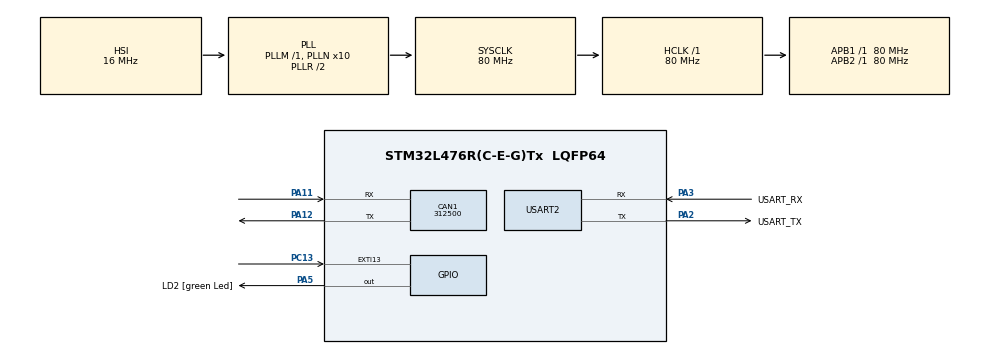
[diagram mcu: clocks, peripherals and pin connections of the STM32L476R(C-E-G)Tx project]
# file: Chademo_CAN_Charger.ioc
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CAN1.BS1=CAN_BS1_13TQ
CAN1.BS2=CAN_BS2_2TQ
CAN1.CalculateBaudRate=312500
CAN1.CalculateTimeBit=3200
CAN1.CalculateTimeQuantum=200.0
Mcu.Family=STM32L4
Mcu.Name=STM32L476R(C-E-G)Tx
Mcu.Package=LQFP64
NVIC.CAN1_RX0_IRQn=true\:0\:0\:false\:false\:true\:true\:true\:true
NVIC.CAN1_RX1_IRQn=true\:0\:0\:false\:false\:true\:true\:true\:true
NVIC.CAN1_SCE_IRQn=true\:0\:0\:false\:false\:true\:true\:true\:true
NVIC.PriorityGroup=NVIC_PRIORITYGROUP_4
NVIC.USART2_IRQn=true\:0\:0\:false\:false\:true\:true\:true\:true
PA11.Mode=CAN_Activate
PA11.Signal=CAN1_RX
PA12.Mode=CAN_Activate
PA12.Signal=CAN1_TX
PA13\ (JTMS-SWDIO).GPIO_Label=TMS
PA13\ (JTMS-SWDIO).Mode=Serial_Wire
PA13\ (JTMS-SWDIO).Signal=SYS_JTMS-SWDIO
PA14\ (JTCK-SWCLK).GPIO_Label=TCK
PA14\ (JTCK-SWCLK).Mode=Serial_Wire
PA14\ (JTCK-SWCLK).Signal=SYS_JTCK-SWCLK
PA2.GPIO_Label=USART_TX
PA2.GPIO_Mode=GPIO_MODE_AF_PP
PA2.GPIO_PuPd=GPIO_NOPULL
PA2.GPIO_Speed=GPIO_SPEED_FREQ_VERY_HIGH
PA2.Mode=Asynchronous
PA2.Signal=USART2_TX
PA3.GPIO_Label=USART_RX
PA3.GPIO_Mode=GPIO_MODE_AF_PP
PA3.GPIO_PuPd=GPIO_NOPULL
PA3.GPIO_Speed=GPIO_SPEED_FREQ_VERY_HIGH
PA3.Mode=Asynchronous
PA3.Signal=USART2_RX
PA5.GPIO_Label=LD2 [green Led]
PA5.GPIO_ModeDefaultOutputPP=GPIO_MODE_OUTPUT_PP
PA5.GPIO_PuPd=GPIO_NOPULL
PA5.GPIO_Speed=GPIO_SPEED_FREQ_LOW
PA5.Signal=GPIO_Output
PB3\ (JTDO-TRACESWO).GPIO_Label=SWO
PB3\ (JTDO-TRACESWO).Signal=SYS_JTDO-SWO
PC13.Signal=GPXTI13
PC14-OSC32_IN\ (PC14).Mode=LSE-External-Oscillator
PC14-OSC32_IN\ (PC14).Signal=RCC_OSC32_IN
PC15-OSC32_OUT\ (PC15).Mode=LSE-External-Oscillator
PC15-OSC32_OUT\ (PC15).Signal=RCC_OSC32_OUT
PH0-OSC_IN\ (PH0).Signal=RCC_OSC_IN
PH1-OSC_OUT\ (PH1).Signal=RCC_OSC_OUT
ProjectManager.HeapSize=0x200
ProjectManager.StackSize=0x400
ProjectManager.TargetToolchain=STM32CubeIDE
RCC.ADCFreq_Value=64000000
RCC.AHBFreq_Value=80000000
RCC.APB1Freq_Value=80000000
RCC.APB1TimFreq_Value=80000000
RCC.APB2Freq_Value=80000000
RCC.APB2TimFreq_Value=80000000
RCC.CortexFreq_Value=80000000
RCC.HCLKFreq_Value=80000000
RCC.HSE_VALUE=8000000
RCC.HSI_VALUE=16000000
RCC.MSI_VALUE=4000000
RCC.PLLN=10
RCC.PLLSourceVirtual=RCC_PLLSOURCE_HSI
RCC.PREFETCH_ENABLE=1
RCC.SYSCLKFreq_VALUE=80000000
RCC.SYSCLKSource=RCC_SYSCLKSOURCE_PLLCLK
RCC.USBFreq_Value=64000000
RCC.VCOOutputFreq_Value=160000000
USART2.VirtualMode-Asynchronous=VM_ASYNC
board=NUCLEO-L476RG

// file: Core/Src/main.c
/* USER CODE BEGIN Header */
/**
  ******************************************************************************
  * @file           : main.c
  * @brief          : Main program body
  ******************************************************************************
  * @attention
  *
  * Copyright (c) 2026 STMicroelectronics.
  * All rights reserved.
  *
  * This software is licensed under terms that can be found in the LICENSE file
  * in the root directory of this software component.
  * If no LICENSE file comes with this software, it is provided AS-IS.
  *
  ******************************************************************************
  */
/* USER CODE END Header */
#include "main.h"
#include "can.h"
#include "usart.h"
#include "gpio.h"

/* USER CODE BEGIN Includes */
#include <string.h>
#include <stdio.h>
#include<stdlib.h>
/* USER CODE END Includes */

/* USER CODE BEGIN PV */
uint8_t rxData[8];
uint8_t rxbuf[128]="\r\n";
uint8_t txbuf[128]="\r\n";
//char rxAffiche[128]="12345678";
// differentes états
typedef enum
{
    EV_STATE_IDLE = 0,
    EV_STATE_CABLE_DETECTED,
    EV_STATE_HANDSHAKE,
    EV_STATE_PRECHARGE,
    EV_STATE_CHARGING,
    EV_STATE_STOP

} EV_State_t;
typedef enum
{
	ON,
	OFF
}etat;// etat des signaux

EV_State_t ev_state = EV_STATE_IDLE;

//Parametre de la voiture
uint16_t battery_voltage_min;      // V
uint16_t battery_voltage_max;      // V
uint16_t battery_voltage;      // V
uint16_t requested_current_max; // A
uint16_t requested_current;      // A
uint8_t soc;               // %

//Parametre de la borne
uint16_t Available_output_voltage_min  = 0;      // V
uint16_t Available_output_voltage_max = 600;      // V
uint16_t Available_output_voltage;      // V
uint16_t Threshold_voltage;  //V
uint16_t Available_output_current_min = 0;      // A
uint16_t Available_output_current_max =200;
uint16_t Available_output_current=0;  //
uint16_t Present_output_voltage;
uint16_t Present_output_current;

uint8_t charger_ready = 0;
uint8_t Battery_incompatibility =0;// 0: compatible, 1: incompatible
uint8_t Welding_detection =1;
uint8_t Charging_stop_control = 1; // 0: operating, 1: during stop control or stop condition
uint8_t Charging_system_error = 0; // 0: normal, 1: error
uint8_t Energizing_state = 0;      // 0: disable, 1: enable
uint8_t Charger_error = 0;         // 0: normal, 1: error
uint8_t Charger_status = 0;		   // 0: standby, 1: charging
uint8_t Remaining_charging_time =0; // in the unit of 1 min
int Cable_Detected;
int test_108=0;

//
uint8_t Maximum_charging_time;
uint8_t Estimated_charging_time;
uint16_t Total_capacity_of_battery;
uint16_t Target_battery_voltage;

uint8_t Battery_voltage_deviation_error =0;
uint8_t High_battery_temperature =0;
uint8_t Battery_current_deviation_error = 0;
uint8_t Battery_undervoltage =0;
uint8_t Battery_overvoltage =0;

uint8_t Normal_stop_request=0;
uint8_t Vehicle_status=0;

uint8_t Vehicle_shift_position=1;
uint8_t Vehicle_charging_enabled=0;

// --- Ajout des flags et buffers pour le traitement hors ISR ---
volatile uint8_t flag_msg_100 = 0;
volatile uint8_t flag_msg_101 = 0;
volatile uint8_t flag_msg_102 = 0;
uint8_t rxData_100[8];
uint8_t rxData_101[8];
uint8_t rxData_102[8];
volatile int stop=0;
/* USER CODE END PV */

void SystemClock_Config(void);
/* USER CODE BEGIN PFP */
void CAN_Filter_Config(void);
void HAL_CAN_RxFifo0MsgPendingCallback(CAN_HandleTypeDef *hcan);
void HAL_GPIO_EXTI_Callback(uint16_t GPIO_Pin);
void EV_StateMachine(void);
void send_id_108(void);
void send_id_109(void);
void traitement_msg_100(void);
void traitement_msg_101(void);
void traitement_msg_102(void);

//
static void CAN_Send_Frame(uint32_t id, uint8_t *data, uint8_t len);

/* USER CODE END PFP */

/* USER CODE BEGIN 0 */
/* ----------------------------------------------------------
   STATION CAPABILITY LIMITS
   Battery MC checks MSG108 against these
   ---------------------------------------------------------- */
#define STATION_MAX_VOLTAGE   420
#define STATION_MIN_VOLTAGE   200
#define STATION_MAX_CURRENT   100

/* ----------------------------------------------------------
   UART RX — interrupt driven
   ---------------------------------------------------------- */
#define RX_BUF_SIZE 128

static uint8_t          rx_byte;
static char             rx_buf[RX_BUF_SIZE];
static uint16_t         rx_idx        = 0;
static char             rx_line[RX_BUF_SIZE];
static volatile uint8_t rx_line_ready = 0;

void UART_RX_Start(void)
{
    rx_idx        = 0;
    rx_line_ready = 0;
    HAL_UART_Receive_IT(&huart2, &rx_byte, 1);
}

void HAL_UART_RxCpltCallback(UART_HandleTypeDef *huart)
{
    if (huart->Instance != USART2) return;

    char c = (char)rx_byte;

    if (c == '\n')
    {
        if (rx_idx > 0 && rx_buf[rx_idx - 1] == '\r')
            rx_idx--;
        rx_buf[rx_idx] = '\0';
        strncpy(rx_line, rx_buf, RX_BUF_SIZE - 1);
        rx_line[RX_BUF_SIZE - 1] = '\0';
        rx_idx        = 0;
        rx_line_ready = 1;
    }
    else
    {
        if (rx_idx < RX_BUF_SIZE - 1)
            rx_buf[rx_idx++] = c;
    }

    HAL_UART_Receive_IT(&huart2, &rx_byte, 1);
}

/* ----------------------------------------------------------
   TX helper
   ---------------------------------------------------------- */
void UART_Send(const char *msg)
{
    HAL_UART_Transmit(&huart2, (uint8_t *)msg, strlen(msg), 100);
}

/* ----------------------------------------------------------
   Parser helper — returns the Nth comma-separated integer
   after the ':' in a message like "MSG100:5,280,400,0"
   ---------------------------------------------------------- */
static int get_field(const char *line, int index)
{
    const char *p = strchr(line, ':');
    if (!p) return 0;
    p++;
    for (int i = 0; i < index; i++)
    {
        p = strchr(p, ',');
        if (!p) return 0;
        p++;
    }
    return atoi(p);
}

/* ----------------------------------------------------------
   Wait for a complete line from UART
   Blocks until rx_line_ready is set by the interrupt
   ---------------------------------------------------------- */
static void wait_for_line(char *out)
{
    while (!rx_line_ready) { HAL_Delay(1); }

    __disable_irq();
    strncpy(out, rx_line, RX_BUF_SIZE - 1);
    out[RX_BUF_SIZE - 1] = '\0';
    rx_line_ready = 0;
    __enable_irq();
    if (strncmp(out, "RESET", 5) == 0)
        {
            uint8_t dummy[1] = {0xFF};
            CAN_Send_Frame(0x7FF, dummy, 1);  // notify battery MC
            HAL_Delay(10);                     // let CAN frame transmit
            HAL_NVIC_SystemReset();
        }
}

/* ----------------------------------------------------------
   CAN HELPER — Send a CAN frame
   ---------------------------------------------------------- */
static void CAN_Send_Frame(uint32_t id, uint8_t *data, uint8_t len)
{
    CAN_TxHeaderTypeDef tx_header;
    uint32_t tx_mailbox;

    tx_header.StdId = id;
    tx_header.IDE   = CAN_ID_STD;
    tx_header.RTR   = CAN_RTR_DATA;
    tx_header.DLC   = len;

    HAL_StatusTypeDef status = HAL_CAN_AddTxMessage(&hcan1, &tx_header, data, &tx_mailbox);

    if (status != HAL_OK)
    {
        UART_Send("[ERROR] CAN TX failed\r\n");
    }
}

/* ----------------------------------------------------------
   CAN HELPER — Wait and receive a CAN frame with specific ID
   Returns 1 if received, 0 if timeout (3 seconds)
   ---------------------------------------------------------- */
static uint8_t CAN_Wait_For_Frame(uint32_t expected_id, uint8_t *data_out, uint32_t timeout_ms)
{
    CAN_RxHeaderTypeDef rx_header;
    uint8_t rx_data[8] = {0};
    uint32_t start_tick = HAL_GetTick();

    while ((HAL_GetTick() - start_tick) < timeout_ms)
    {
        // Check if there's a message in FIFO0
        if (HAL_CAN_GetRxFifoFillLevel(&hcan1, CAN_RX_FIFO0) > 0)
        {
            if (HAL_CAN_GetRxMessage(&hcan1, CAN_RX_FIFO0, &rx_header, rx_data) == HAL_OK)
            {
                if (rx_header.StdId == expected_id)
                {
                    memcpy(data_out, rx_data, 8);
                    return 1;  // Success
                }
            }
        }
        HAL_Delay(10);  // Poll every 10ms
    }

    UART_Send("[ERROR] CAN RX timeout\r\n");
    return 0;  // Timeout
}

/* USER CODE END 0 */

int main(void)
{

  /* MCU Configuration--------------------------------------------------------*/

  /* Reset of all peripherals, Initializes the Flash interface and the Systick. */
  HAL_Init();

  /* Configure the system clock */
  SystemClock_Config();

  /* Initialize all configured peripherals */
  MX_GPIO_Init();
  MX_USART2_UART_Init();
  MX_CAN1_Init();
  /* USER CODE BEGIN 2 */
  CAN_Filter_Config();
  HAL_CAN_Start(&hcan1);
  HAL_CAN_ActivateNotification(&hcan1, CAN_IT_RX_FIFO0_MSG_PENDING);

  UART_RX_Start();

       /* ── Variables for MSG100 ── */
       int min_current = 0;
       int min_voltage = 0;
       int max_voltage = 0;
       int charge_rate = 0;

       /* ── Variables for MSG101 ── */
       int max_time_10s  = 0;
       int max_time_1min = 0;
       int est_time      = 0;
       int capacity      = 0;

       /* ── Variables for MSG108 (received from station MC via CAN) ── */
       int welding_id    = 0;
       int avail_voltage = 0;
       int avail_current = 0;
       int threshold_v   = 0;

       char line[RX_BUF_SIZE];
       uint8_t msg100_ok = 0;
       uint8_t msg101_ok = 0;
  /* USER CODE END 2 */

  /* Infinite loop */
  while (1)
  {

    /* USER CODE BEGIN 3 */

	  while(!flag_msg_100)
	  {
		  HAL_Delay(1);//attend la reception du message id 100
	  }
	  traitement_msg_100();

	  wait_for_line(line);

	  if (strncmp(line, "MSG108:", 7) == 0)
	  {
		  //welding_id,avail_voltage,avail_current,threshold_v

		  Welding_detection=get_field(line, 0);
		  Available_output_voltage=get_field(line, 1);
		  Available_output_current=get_field(line, 2);
		  Threshold_voltage=get_field(line, 3);
		  send_id_108();
	  }
	  wait_for_line(line);
	  	  if (strncmp(line, "MSG109:", 7) == 0)
	  	  {
	  		//MSG109:present_voltage,present_current,output_enable,incompat_flag,remaining_1min,spare RESET
	  		//MSG109:0,0,0,0,0,0,incompat
	  		//present_voltage, present_current, output_enable, incompat_flag, remaining_1min, spare, incompat
	  		Present_output_voltage= get_field(line, 0);
			Present_output_current= get_field(line, 1);
			Charger_status= get_field(line, 2);
			Battery_incompatibility= get_field(line, 3);
			Remaining_charging_time=get_field(line, 4);
	  		send_id_109();
	  	  }

	  while(!flag_msg_101)
	  	  {
	  		  HAL_Delay(1);//attend la reception du message id 100
	  	  }
	  	  traitement_msg_101();
	  	wait_for_line(line);
	  		  	  if (strncmp(line, "MSG109:", 7) == 0)
	  		  	  {
	  		  		//MSG109:present_voltage,present_current,output_enable,incompat_flag,remaining_1min,spare RESET

	  		  		Present_output_voltage= get_field(line, 0);
	  				Present_output_current= get_field(line, 1);
	  				Charger_status= get_field(line, 2);
	  				Battery_incompatibility= get_field(line, 3);
	  				Remaining_charging_time=get_field(line, 4);
	  		  		send_id_109();
	  		  	  }
	  //send_id_109();
	  /*while(!flag_msg_102)
	  	  	  {
	  	  		  HAL_Delay(1);//attend la reception du message id 100
	  	  	  }
	  	  	  traitement_msg_102();*/
	  do
	  {
		  UART_Send("Debug\r\n");
		  while(!flag_msg_102)
		  	  	  	  {
		  	  	  		  HAL_Delay(1);//attend la reception du message id 100
		  	  	  	  }
		  UART_Send("flag_msg_102\r\n");
		  traitement_msg_102();
		  /*sprintf((char*)txbuf, "MSG102:%d,%d,%d,%d,%d,%d\r\n",Target_battery_voltage,
		  							 requested_current,soc,	Vehicle_status, Vehicle_charging_enabled, Normal_stop_request);*/
		  //UART_Send((char*)txbuf);
		  //Récupérer les donnée du simulateur
		  wait_for_line(line);
		  //UART_Send("msg_109\r\n");
		  	  		  	  if (strncmp(line, "MSG109:", 7) == 0)
		  	  		  	  {
		  	  		  		//MSG109:present_voltage,present_current,output_enable,incompat_flag,remaining_1min,spare RESET

		  	  		  		Present_output_voltage= get_field(line, 0);
		  	  				Present_output_current= get_field(line, 1);
		  	  				Charger_status= get_field(line, 2);
		  	  				Battery_incompatibility= get_field(line, 3);
		  	  				Remaining_charging_time=get_field(line, 4);
		  	  		  		send_id_109();
		  	  		  		//UART_Send("send_id_109()\r\n");
		  	  		  	  }

	  }while(!Normal_stop_request);
	  //Unlock charging connector
	  send_id_109();

  }
  /* USER CODE END 3 */
}

void SystemClock_Config(void)
{
  RCC_OscInitTypeDef RCC_OscInitStruct = {0};
  RCC_ClkInitTypeDef RCC_ClkInitStruct = {0};

  /** Configure the main internal regulator output voltage
  */
  if (HAL_PWREx_ControlVoltageScaling(PWR_REGULATOR_VOLTAGE_SCALE1) != HAL_OK)
  {
    Error_Handler();
  }

  /** Initializes the RCC Oscillators according to the specified parameters
  * in the RCC_OscInitTypeDef structure.
  */
  RCC_OscInitStruct.OscillatorType = RCC_OSCILLATORTYPE_HSI;
  RCC_OscInitStruct.HSIState = RCC_HSI_ON;
  RCC_OscInitStruct.HSICalibrationValue = RCC_HSICALIBRATION_DEFAULT;
  RCC_OscInitStruct.PLL.PLLState = RCC_PLL_ON;
  RCC_OscInitStruct.PLL.PLLSource = RCC_PLLSOURCE_HSI;
  RCC_OscInitStruct.PLL.PLLM = 1;
  RCC_OscInitStruct.PLL.PLLN = 10;
  RCC_OscInitStruct.PLL.PLLP = RCC_PLLP_DIV7;
  RCC_OscInitStruct.PLL.PLLQ = RCC_PLLQ_DIV2;
  RCC_OscInitStruct.PLL.PLLR = RCC_PLLR_DIV2;
  if (HAL_RCC_OscConfig(&RCC_OscInitStruct) != HAL_OK)
  {
    Error_Handler();
  }

  /** Initializes the CPU, AHB and APB buses clocks
  */
  RCC_ClkInitStruct.ClockType = RCC_CLOCKTYPE_HCLK|RCC_CLOCKTYPE_SYSCLK
                              |RCC_CLOCKTYPE_PCLK1|RCC_CLOCKTYPE_PCLK2;
  RCC_ClkInitStruct.SYSCLKSource = RCC_SYSCLKSOURCE_PLLCLK;
  RCC_ClkInitStruct.AHBCLKDivider = RCC_SYSCLK_DIV1;
  RCC_ClkInitStruct.APB1CLKDivider = RCC_HCLK_DIV1;
  RCC_ClkInitStruct.APB2CLKDivider = RCC_HCLK_DIV1;

  if (HAL_RCC_ClockConfig(&RCC_ClkInitStruct, FLASH_LATENCY_4) != HAL_OK)
  {
    Error_Handler();
  }
}

/* USER CODE BEGIN 4 */
void CAN_Filter_Config(void)
{
  CAN_FilterTypeDef filter;

  filter.FilterActivation = ENABLE;
  filter.FilterBank = 0;
  filter.FilterFIFOAssignment = CAN_FILTER_FIFO0;
  filter.FilterMode = CAN_FILTERMODE_IDMASK;
  filter.FilterScale = CAN_FILTERSCALE_32BIT;
  filter.FilterIdHigh = 0x0000;
  filter.FilterIdLow = 0x0000;
  filter.FilterMaskIdHigh = 0x0000;
  filter.FilterMaskIdLow = 0x0000;

  HAL_CAN_ConfigFilter(&hcan1, &filter);
}

void HAL_GPIO_EXTI_Callback(uint16_t GPIO_Pin)
{
	Cable_Detected=1;
}

void HAL_CAN_RxFifo0MsgPendingCallback(CAN_HandleTypeDef *hcan)
{
    CAN_RxHeaderTypeDef rxHeader;
    uint8_t tmpData[8];
        //HAL_GPIO_TogglePin(LD2_GPIO_Port, LD2_Pin);
        if(HAL_CAN_GetRxMessage(hcan, CAN_RX_FIFO0, &rxHeader, tmpData)==HAL_OK)
        {
        	if (rxHeader.StdId == 0x100)
        	        {
        	            // Copie des données et levée du flag — aucun traitement ici
        	            memcpy(rxData_100, tmpData, 8);
        	            flag_msg_100 = 1;
        	        }
        	else if (rxHeader.StdId == 0x101)
        	        {
        	            memcpy(rxData_101, tmpData, 8);
        	            flag_msg_101 = 1;
        	        }
        	else if (rxHeader.StdId == 0x102)
        	        	        {
        	        	            memcpy(rxData_102, tmpData, 8);
        	        	            flag_msg_102 = 1;

        	        	        }
        }

}
void send_id_108(void)
{
	CAN_TxHeaderTypeDef txHeader;
	uint8_t txData[8];
	uint32_t txMailbox;

		    txHeader.StdId = 0x108;
		    txHeader.IDE = CAN_ID_STD;
		    txHeader.RTR = CAN_RTR_DATA;
		    txHeader.DLC = 8;

		    txData[0] = (Welding_detection & 0xFF); //charge current
		    txData[1] = (Available_output_voltage & 0xFF); // LSB
		    txData[2] = (Available_output_voltage>> 8); // MSB
		    txData[3] = (Available_output_current & 0xFF);

		    txData[4] = (Threshold_voltage  & 0xFF); // LSB
		    txData[5] = (Threshold_voltage >> 8);// MSB
		    txData[6] = 0x00;//not used
		    txData[7] = 0x00; //not used
		    if(HAL_CAN_AddTxMessage(&hcan1, &txHeader, txData, &txMailbox) == HAL_OK)
		        {
		        	/*HAL_GPIO_TogglePin(LD2_GPIO_Port, LD2_Pin);
		        	HAL_Delay(10);
		        	HAL_GPIO_TogglePin(LD2_GPIO_Port, LD2_Pin);*/
		        }
}
void send_id_109(void)
{
	CAN_TxHeaderTypeDef txHeader;
	uint8_t txData[8];
	uint32_t txMailbox;

		    txHeader.StdId = 0x109;
		    txHeader.IDE = CAN_ID_STD;
		    txHeader.RTR = CAN_RTR_DATA;
		    txHeader.DLC = 8;

		    txData[0] = 0x03; //ChadeMO specification ver.2.0
		    txData[1] = (Present_output_voltage & 0xFF); // LSB present ouput voltage
		    txData[2] = (Present_output_voltage>> 8); // MSB present ouput voltage
		    txData[3] = (Present_output_current & 0xFF);// present charging current

		    txData[4] = 0x00; //not used
		    txData[5] = (Charging_stop_control<<5 | Charging_system_error<<4 | Battery_incompatibility<<3 | Energizing_state<<2 | Charger_error<<1 | Charger_status<<0 );
		    txData[6] = 0xFF;//charging time in the unit 10 s
		    txData[7] = Remaining_charging_time; //not used
		    if(HAL_CAN_AddTxMessage(&hcan1, &txHeader, txData, &txMailbox) == HAL_OK)
		        {
		        	/*HAL_GPIO_TogglePin(LD2_GPIO_Port, LD2_Pin);
		        	HAL_Delay(10);
		        	HAL_GPIO_TogglePin(LD2_GPIO_Port, LD2_Pin);*/
		        }
}
void traitement_msg_100(void)
{
	if (flag_msg_100)
		    {
		        flag_msg_100 = 0;
		        //sprintf((char*)rxbuf,"Message 100\r\n");
		        //HAL_UART_Transmit(&huart2, rxbuf, strlen((char*)rxbuf), 10);
		        // Lecture des données reçues depuis la copie locale
		        requested_current   = rxData_100[0];
		        battery_voltage_min = (rxData_100[2] | (rxData_100[3] << 8));
		        battery_voltage_max = (rxData_100[4] | (rxData_100[5] << 8));
		        soc                 = rxData_100[6];
		       /* sprintf((char*)rxbuf,"requested_current %d A\r\n",requested_current);
		        HAL_UART_Transmit(&huart2, rxbuf, strlen((char*)rxbuf), 10);
		        sprintf((char*)rxbuf,"battery_voltage_min %d V\r\n",battery_voltage_min);
		        HAL_UART_Transmit(&huart2, rxbuf, strlen((char*)rxbuf), 10);
		        sprintf((char*)rxbuf,"battery_voltage_max %d V\r\n",battery_voltage_max);
		        HAL_UART_Transmit(&huart2, rxbuf, strlen((char*)rxbuf), 10);
		        sprintf((char*)rxbuf,"soc  %d %sV\r\n",soc,"%");
		        HAL_UART_Transmit(&huart2, rxbuf, strlen((char*)rxbuf), 10);*/

		        //MSG100:min_current,min_voltage,max_voltage,charge_rate
		        sprintf((char*)txbuf,
		       	                  "MSG100:%d,%d,%d,%d\r\n",
								  requested_current,
								  battery_voltage_min,battery_voltage_max,soc);

		       	 HAL_UART_Transmit(&huart2, txbuf, strlen((char*)txbuf), 100);
		        // Vérification compatibilité tension
		        if ((Available_output_voltage_min <= battery_voltage_max) &&
		            (battery_voltage_max <= Available_output_voltage_max))
		        {
		            Available_output_voltage = battery_voltage_max;
		            Battery_incompatibility  = 0;
		        }
		        else
		        {
		            if (battery_voltage_max > Available_output_voltage_max)
		            {
		                Available_output_voltage = Available_output_voltage_max;
		                Battery_incompatibility  = 0;
		            }
		            else
		            {
		                Available_output_voltage = 0;
		                Battery_incompatibility  = 1;
		            }
		        }

		        // Vérification compatibilité courant
		        if ((Available_output_current_min <= requested_current_max) &&
		            (Available_output_current_max >= requested_current_max))
		        {
		            Available_output_current = requested_current_max;
		            // Battery_incompatibility inchangé si déjà à 1
		        }
		        else
		        {
		            if (requested_current_max > Available_output_current_max)
		            {
		                Available_output_current = Available_output_current_max;
		                // Battery_incompatibility inchangé
		            }
		            else
		            {
		                Available_output_current = 0;
		                Battery_incompatibility  = 1;
		            }
		        }

		        //send_id_108();
		    }
}
void traitement_msg_101(void)
{
	if (flag_msg_101)
		    {
		        flag_msg_101 = 0;
		        /*sprintf((char*)rxbuf,"Message 101\r\n");
		        HAL_UART_Transmit(&huart2, rxbuf, strlen((char*)rxbuf), 10);*/
		        //send_id_109();
		        Maximum_charging_time =rxData_101[2]; // en minute
		        Estimated_charging_time= rxData_101[3];// en minute
		        Total_capacity_of_battery= 	rxData_101[5] | (rxData_101[5]<<8);
		        //MSG101:max_time_10s,max_time_1min,est_time_1min,capacity
		        	sprintf((char*)txbuf,
		        			 "MSG101:%d,%d,%d,%d\r\n",0x03,
		        			 Maximum_charging_time,
		        			 Estimated_charging_time,Total_capacity_of_battery);

		        	HAL_UART_Transmit(&huart2, txbuf, strlen((char*)txbuf), 100);

		    }

}
void traitement_msg_102(void)
{
	if (flag_msg_102)
		    {
		        flag_msg_102 = 0;
		        /*sprintf((char*)rxbuf,"Message 102\r\n");
		        HAL_UART_Transmit(&huart2, rxbuf, strlen((char*)rxbuf), 10);
		        //send_id_109();*/
		        //txData[0] = 0x03;//ChadeMo protocol ver.2.0
		        Target_battery_voltage=	 rxData_102[1] | (rxData_102[2]<<8);

		        requested_current= 	 rxData_102[3];// Charging_current_request
		        Battery_voltage_deviation_error = (rxData_102[4] & 1<<4)>>4;
		        High_battery_temperature = (rxData_102[4] & 1<<3)>>3;
		        Battery_current_deviation_error= (rxData_102[4] & 1<<2)>>2;
		        Battery_undervoltage= (rxData_102[4] & 1<<1)>>1;
		        Battery_overvoltage= (rxData_102[4] & 1<<0)>>0;
		        Vehicle_status=(rxData_102[5] & 1<<3)>>3;
		        Normal_stop_request=((rxData_102[5] & 1<<4)>>4) | (rxData_102[5] & 1<<3)>>3;
		        Charging_system_error =(rxData_102[5] & 1<<2)>>2;
		        Vehicle_shift_position=(rxData_102[5] & 1<<1)>>1;
		        Vehicle_charging_enabled =(rxData_102[5] & 1<<0)>>0;
		        soc=	 rxData_102[6]  ;
		        	 //txData[7] = 0x00; //not used
		        //MSG102:target_voltage,current_req,soc,fault_flag,charging_req,stop_flag
		        sprintf((char*)txbuf, "MSG102:%d,%d,%d,%d,%d,%d\r\n",Target_battery_voltage,
							 requested_current,soc,	Vehicle_status, Vehicle_charging_enabled, Normal_stop_request);

		        HAL_UART_Transmit(&huart2, txbuf, strlen((char*)txbuf), 100);
		   		 /*HAL_GPIO_TogglePin(LD2_GPIO_Port, LD2_Pin);
		   		 HAL_Delay(10);
		   		 HAL_GPIO_TogglePin(LD2_GPIO_Port, LD2_Pin);
		   		 HAL_Delay(10);
		   		 HAL_GPIO_TogglePin(LD2_GPIO_Port, LD2_Pin);
		   		 HAL_Delay(10);
		   		 HAL_GPIO_TogglePin(LD2_GPIO_Port, LD2_Pin);*/
		    }
}

/* USER CODE END 4 */

void Error_Handler(void)
{
  __disable_irq();
  while (1)
  {
  }
}
